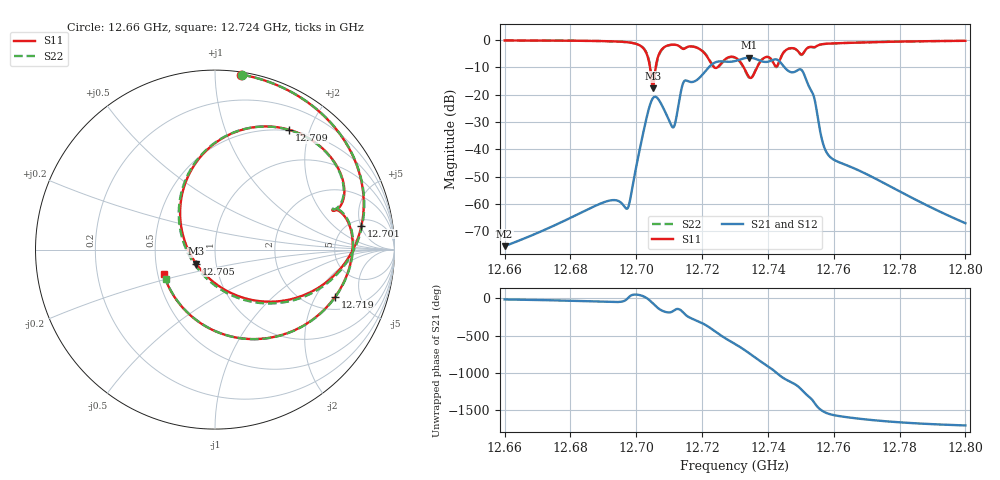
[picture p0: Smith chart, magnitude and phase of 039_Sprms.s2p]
! TOUCHSTONE file generated by CST MICROWAVE STUDIO
! Date and time: Wed Jul 31 12:38:08 2024
! Project name: WaveGuide_BPF-Ver4.1_U-shape_Ku_T3_C4_CWA_2.cst
! Parameters = {cavity_h=16; cavity_l0=10; cavity_l1=15.163; cavity_l2=16.8449; cavity_l3=17.1316; cavity_l4=17.2625; cavity_l5=17.1023; cavity_l6=17.5967; cavity_r=2.5; cavity_screw_l=0.5; cavity_screw_r=1.5; cavity_w=8; iris_h00=0; iris_h01=8.7997; iris_h112=0; iris_h12=5.5913; iris_h211=3.6635; i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
! Header version: 2018
! Port assignment regex: !\s*Touchstone port\s*([0-9]+)\s*=\s*(CST MWS port|CST DS port)\s*([0-9]+|Zmin|Zmax)\s*\(\"(.*)\"\)(\s*mode\s*([0-9]+))?.*
! Touchstone port assignment:
! Touchstone port 1 = CST MWS port 1 ("")
! Touchstone port 2 = CST MWS port 2 ("")
# GHz S RI R 50
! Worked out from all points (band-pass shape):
!   5001 points, 12.66 GHz to 12.8 GHz, reference 50 ohm
!   highest |S21| = -6.42 dB at 12.734 GHz (marker M1); lowest = -75.5 dB at 12.66 GHz (marker M2)
!   |S21| within 3 dB of the highest: 12.72248 GHz to 12.74467 GHz (22.19 MHz wide, 0.174 % of centre)
!   lowest |S11| = -17.7 dB at 12.705 GHz (marker M3), VSWR 1.30, Z = 40.1 - j6.35 ohm
!   |S11| at or under -10 dB: 12.70418 GHz to 12.7059 GHz (1.713 MHz wide, 0.0135 % of centre); 12.7237 GHz to 12.72463 GHz (930.7 kHz wide, 0.00731 % of centre); 12.73266 GHz to 12.7367 GHz (4.04 MHz wide, 0.0317 % of centre)
!   |S22| runs from -17.1 to -0.1 dB; largest |S21 - S12| = 1e-09
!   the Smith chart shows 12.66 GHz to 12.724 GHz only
!   S11 on the Smith chart (normalised r, x): 12.66 GHz: 0.02, +1.16; 12.701 GHz: 6.12, +5.17; 12.705 GHz: 0.80, -0.13; 12.709 GHz: 0.49, +1.69; 12.719 GHz: 2.69, -2.94; 12.724 GHz: 0.54, -0.16
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12.66  0.1472 0.975  0.000163 -3.61e-05  0.000163 -3.61e-05  0.1531 0.9741
12.68335  0.4786 0.8462  0.000572 -0.000393  0.000572 -0.000393  0.4843 0.8429
12.69724  0.7965 0.4508  0.000813 -6.83e-05  0.000813 -6.83e-05  0.8002 0.445
12.7006  0.816 0.1335  0.00474 0.00559  0.00474 0.00559  0.8192 0.1296
12.70502  -0.105 -0.078  0.0363 -0.0777  0.0363 -0.0777  -0.091 -0.1128
12.70668  -0.0964 0.4974  -0.0551 -0.0622  -0.0551 -0.0622  -0.1207 0.4705
12.70925  0.4146 0.6673  -0.042 0.00307  -0.042 0.00307  0.396 0.6714
12.71132  0.6538 0.5036  -0.0244 -0.00668  -0.0244 -0.00668  0.6448 0.5127
12.7186  0.6683 -0.2644  0.1003 0.1608  0.1003 0.1608  0.6765 -0.2557
12.72367  -0.2861 -0.1373  0.1147 -0.3648  0.1147 -0.3648  -0.275 -0.1664
12.72698  0.00332 0.444  -0.4004 -0.0564  -0.4004 -0.0564  -0.0155 0.4356
12.73  0.4366 0.2036  -0.1349 0.3905  -0.1349 0.3905  0.4303 0.2043
12.73426  -0.0181 -0.21  0.464 -0.1125  0.464 -0.1125  -0.0356 -0.2021
12.73658  -0.2954 0.0771  0.0153 -0.445  0.0153 -0.445  -0.2951 0.1008
12.73944  -0.0608 0.4863  -0.3951 -0.0451  -0.3951 -0.0451  -0.0407 0.4911
12.74218  0.1201 0.3172  -0.0635 0.4399  -0.0635 0.4399  0.1281 0.3076
12.74428  0.0833 0.5289  0.3311 0.1449  0.3311 0.1449  0.0882 0.5248
12.7489  0.593 0.2632  -0.00806 -0.2775  -0.00806 -0.2775  0.5948 0.2506
12.75335  0.7455 0.0841  0.0101 0.1129  0.0101 0.1129  0.7409 0.0733
12.7585  0.7396 -0.4464  -0.00256 -0.0072  -0.00256 -0.0072  0.7348 -0.4532
12.77668  -0.556 -0.7475  -0.00183 0.00116  -0.00183 0.00116  -0.5638 -0.742
12.8  -0.9707 -0.021  -3.6e-05 0.00044  -3.6e-05 0.00044  -0.971 -0.0136
